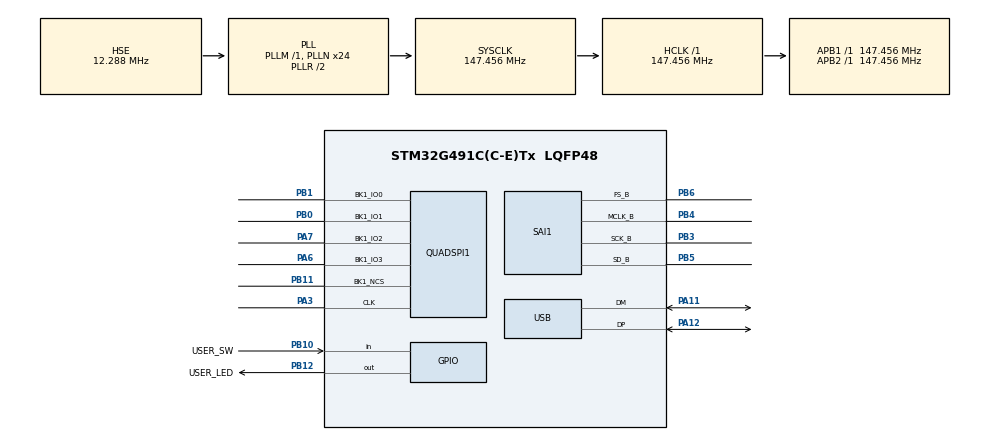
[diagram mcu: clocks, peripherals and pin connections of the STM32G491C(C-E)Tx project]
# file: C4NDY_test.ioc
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Dma.Request0=SAI1_B
Dma.SAI1_B.0.Direction=DMA_MEMORY_TO_PERIPH
Dma.SAI1_B.0.EventEnable=DISABLE
Dma.SAI1_B.0.Instance=DMA1_Channel1
Dma.SAI1_B.0.MemDataAlignment=DMA_MDATAALIGN_WORD
Dma.SAI1_B.0.MemInc=DMA_MINC_ENABLE
Dma.SAI1_B.0.Mode=DMA_NORMAL
Dma.SAI1_B.0.PeriphDataAlignment=DMA_PDATAALIGN_WORD
Dma.SAI1_B.0.PeriphInc=DMA_PINC_DISABLE
Dma.SAI1_B.0.Polarity=HAL_DMAMUX_REQ_GEN_RISING
Dma.SAI1_B.0.Priority=DMA_PRIORITY_LOW
Dma.SAI1_B.0.RequestNumber=1
Dma.SAI1_B.0.SignalID=NONE
Dma.SAI1_B.0.SyncEnable=DISABLE
Dma.SAI1_B.0.SyncPolarity=HAL_DMAMUX_SYNC_NO_EVENT
Dma.SAI1_B.0.SyncRequestNumber=1
Dma.SAI1_B.0.SyncSignalID=NONE
Mcu.Family=STM32G4
Mcu.Name=STM32G491C(C-E)Tx
Mcu.Package=LQFP48
NVIC.DMA1_Channel1_IRQn=true\:0\:0\:false\:false\:true\:false\:true\:true
NVIC.PriorityGroup=NVIC_PRIORITYGROUP_4
NVIC.SAI1_IRQn=true\:0\:0\:false\:false\:true\:true\:true\:true
NVIC.USB_LP_IRQn=true\:0\:0\:false\:false\:true\:false\:true\:true
PA11.Mode=Device
PA11.Signal=USB_DM
PA12.Mode=Device
PA12.Signal=USB_DP
PA13.Mode=Serial_Wire
PA13.Signal=SYS_JTMS-SWDIO
PA14.Mode=Serial_Wire
PA14.Signal=SYS_JTCK-SWCLK
PA3.GPIO_Speed=GPIO_SPEED_FREQ_VERY_HIGH
PA3.Mode=Single Bank 1
PA3.Signal=QUADSPI1_CLK
PA6.GPIO_Speed=GPIO_SPEED_FREQ_VERY_HIGH
PA6.Mode=Single Bank 1
PA6.Signal=QUADSPI1_BK1_IO3
PA7.GPIO_Speed=GPIO_SPEED_FREQ_VERY_HIGH
PA7.Mode=Single Bank 1
PA7.Signal=QUADSPI1_BK1_IO2
PB0.GPIO_Speed=GPIO_SPEED_FREQ_VERY_HIGH
PB0.Mode=Single Bank 1
PB0.Signal=QUADSPI1_BK1_IO1
PB1.GPIO_Speed=GPIO_SPEED_FREQ_VERY_HIGH
PB1.Mode=Single Bank 1
PB1.Signal=QUADSPI1_BK1_IO0
PB10.GPIO_Label=USER_SW
PB10.GPIO_PuPd=GPIO_PULLUP
PB10.Signal=GPIO_Input
PB11.GPIO_Speed=GPIO_SPEED_FREQ_VERY_HIGH
PB11.Mode=Single Bank 1
PB11.Signal=QUADSPI1_BK1_NCS
PB12.GPIO_Label=USER_LED
PB12.Signal=GPIO_Output
PB3.GPIO_Speed=GPIO_SPEED_FREQ_VERY_HIGH
PB3.Mode=SAI_B_MasterWithClock
PB3.Signal=SAI1_SCK_B
PB4.GPIO_Speed=GPIO_SPEED_FREQ_VERY_HIGH
PB4.Mode=SAI_B_MasterWithClock
PB4.Signal=SAI1_MCLK_B
PB5.GPIO_Speed=GPIO_SPEED_FREQ_VERY_HIGH
PB5.Mode=SAI_B_MasterWithClock
PB5.Signal=SAI1_SD_B
PB6.GPIO_FM6=__NULL
PB6.GPIO_Speed=GPIO_SPEED_FREQ_VERY_HIGH
PB6.Mode=SAI_B_MasterWithClock
PB6.Signal=SAI1_FS_B
PF0-OSC_IN.Mode=HSE-External-Clock-Source
PF0-OSC_IN.Signal=RCC_OSC_IN
ProjectManager.HeapSize=0x200
ProjectManager.StackSize=0x400
ProjectManager.TargetToolchain=STM32CubeIDE
QUADSPI1.ClockMode=QSPI_CLOCK_MODE_0
QUADSPI1.ClockPrescaler=1
QUADSPI1.FifoThreshold=4
QUADSPI1.FlashSize=10
QUADSPI1.SampleShifting=QSPI_SAMPLE_SHIFTING_NONE
RCC.ADC12Freq_Value=147456000
RCC.ADC345Freq_Value=147456000
RCC.AHBFreq_Value=147456000
RCC.APB1Freq_Value=147456000
RCC.APB1TimFreq_Value=147456000
RCC.APB2Freq_Value=147456000
RCC.APB2TimFreq_Value=147456000
RCC.CortexFreq_Value=147456000
RCC.EXTERNAL_CLOCK_VALUE=12288000
RCC.HCLKFreq_Value=147456000
RCC.HSE_VALUE=12288000
RCC.HSI48_VALUE=48000000
RCC.HSI_VALUE=16000000
RCC.LSE_VALUE=32768
RCC.PLLN=24
RCC.PLLQ=RCC_PLLQ_DIV6
RCC.PLLSourceVirtual=RCC_PLLSOURCE_HSE
RCC.PWR_Regulator_Voltage_Scale=PWR_REGULATOR_VOLTAGE_SCALE1_BOOST
RCC.SAI1CLockSelection=RCC_SAI1CLKSOURCE_PLL
RCC.SYSCLKFreq_VALUE=147456000
RCC.SYSCLKSource=RCC_SYSCLKSOURCE_PLLCLK
RCC.USBFreq_Value=48000000
RCC.VCOOutputFreq_Value=294912000
SAI1.ActiveFrameLength-SAI_B_MasterWithClock=16
SAI1.AudioFrequency-SAI_B_MasterWithClock=SAI_AUDIO_FREQUENCY_MCKDIV
SAI1.DataSize-SAI_B_MasterWithClock=SAI_DATASIZE_16
SAI1.FIFOThreshold-SAI_B_MasterWithClock=SAI_FIFOTHRESHOLD_HF
SAI1.FirstBitOffset-SAI_B_MasterWithClock=0
SAI1.FrameLength-SAI_B_MasterWithClock=32
SAI1.Instance-SAI_B_MasterWithClock=SAI$Index_Block_B
SAI1.MckOutput-SAI_B_MasterWithClock=SAI_MCK_OUTPUT_ENABLE
SAI1.MckOverSampling-SAI_B_MasterWithClock=SAI_MCK_OVERSAMPLING_DISABLE
SAI1.Mckdiv-SAI_B_MasterWithClock=4
SAI1.MonoStereoMode-SAI_B_MasterWithClock=SAI_STEREOMODE
SAI1.NoDivider-SAI_B_MasterWithClock=SAI_MASTERDIVIDER_ENABLE
SAI1.SlotActive-SAI_B_MasterWithClock=0x0000FFFF
SAI1.SlotNumber-SAI_B_MasterWithClock=2
SAI1.VirtualMode-SAI_B_MasterWithClock=VM_MASTER
SAI1.VirtualSlotActive-SAI_B_MasterWithClock=SAI_SLOTACTIVE_ALL
USB_DEVICE.CLASS_NAME_FS=AUDIO
USB_DEVICE.MANUFACTURER_STRING=Yamamoto Works Ltd.
USB_DEVICE.USBD_AUDIO_FREQ=48000
USB_DEVICE.USBD_MAX_NUM_CONFIGURATION=2
USB_DEVICE.USBD_MAX_NUM_INTERFACES=2
USB_DEVICE.VID=0x31BF
USB_DEVICE.VirtualMode=Audio
USB_DEVICE.VirtualModeFS=Audio_FS
VP_USB_DEVICE_VS_USB_DEVICE_AUDIO_FS.Mode=AUDIO_FS
board=custom

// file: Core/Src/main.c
/* USER CODE BEGIN Header */
/**
  ******************************************************************************
  * @file           : main.c
  * @brief          : Main program body
  ******************************************************************************
  * @attention
  *
  * Copyright (c) 2023 STMicroelectronics.
  * All rights reserved.
  *
  * This software is licensed under terms that can be found in the LICENSE file
  * in the root directory of this software component.
  * If no LICENSE file comes with this software, it is provided AS-IS.
  *
  ******************************************************************************
  */
/* USER CODE END Header */
#include "main.h"
#include "usb_device.h"

/* USER CODE BEGIN Includes */
#include "usbd_audio_if.h"
#include "SEGGER_RTT.h"
/* USER CODE END Includes */

/* USER CODE BEGIN PD */
#define READ_CMD 0x03
#define QIO_READ_CMD 0xEB
#define WRITE_CMD 0x02
#define QIO_WRITE_CMD 0x38
#define ENTER_QPI_CMD 0x35
#define EXIT_QPI_CMD 0xF5
#define RESET_ENABLE_CMD 0x66
#define RESET_CMD 0x99
#define SET_BURST_LEN_CMD 0xC0
#define READ_ID_CMD 0x9F
/* USER CODE END PD */

QSPI_HandleTypeDef hqspi1;

SAI_HandleTypeDef hsai_BlockB1;
DMA_HandleTypeDef hdma_sai1_b;

void SystemClock_Config(void);
static void MX_GPIO_Init(void);
static void MX_DMA_Init(void);
static void MX_SAI1_Init(void);
static void MX_QUADSPI1_Init(void);
/* USER CODE BEGIN PFP */
void RTT_Read(void);
/* USER CODE END PFP */

/* USER CODE BEGIN 0 */
int8_t SRAM_Write(uint32_t address, uint8_t *write_data, uint32_t write_length)
{
	QSPI_CommandTypeDef sCommand;
	HAL_StatusTypeDef res = 0;

	sCommand.InstructionMode   = QSPI_INSTRUCTION_1_LINE;
	sCommand.Instruction	   = WRITE_CMD;
	sCommand.AddressMode	   = QSPI_ADDRESS_1_LINE;
	sCommand.Address		   = address;
	sCommand.AddressSize	   = QSPI_ADDRESS_24_BITS;
	sCommand.AlternateByteMode = QSPI_ALTERNATE_BYTES_NONE;
	sCommand.DataMode		   = QSPI_DATA_1_LINE;
	sCommand.DummyCycles	   = 0;
	sCommand.DdrMode		   = QSPI_DDR_MODE_DISABLE;
	sCommand.DdrHoldHalfCycle  = QSPI_DDR_HHC_ANALOG_DELAY;
	sCommand.SIOOMode		   = QSPI_SIOO_INST_EVERY_CMD;
	sCommand.NbData			   = write_length;

	res += HAL_QSPI_Command(&hqspi1, &sCommand, 0xFFF);
	res += HAL_QSPI_Transmit(&hqspi1, write_data, 0xFFF);

	return res;
}

int8_t SRAM_Read(uint32_t address, uint8_t *read_data, uint32_t read_length)
{
	QSPI_CommandTypeDef sCommand;
	HAL_StatusTypeDef res = 0;

	sCommand.InstructionMode   = QSPI_INSTRUCTION_1_LINE;
	sCommand.Instruction	   = READ_CMD;
	sCommand.AddressMode	   = QSPI_ADDRESS_1_LINE;
	sCommand.Address		   = address;
	sCommand.AddressSize	   = QSPI_ADDRESS_24_BITS;
	sCommand.AlternateByteMode = QSPI_ALTERNATE_BYTES_NONE;
	sCommand.DataMode		   = QSPI_DATA_1_LINE;
	sCommand.DummyCycles	   = 0;
	sCommand.DdrMode		   = QSPI_DDR_MODE_DISABLE;
	sCommand.DdrHoldHalfCycle  = QSPI_DDR_HHC_ANALOG_DELAY;
	sCommand.SIOOMode		   = QSPI_SIOO_INST_EVERY_CMD;
	sCommand.NbData			   = read_length;

	res += HAL_QSPI_Command(&hqspi1, &sCommand, 0xFFF);
	res += HAL_QSPI_Receive(&hqspi1, read_data, 0xFFF);

	return res;
}

int8_t SRAM_QMode(void)
{

	QSPI_CommandTypeDef sCommand;
	HAL_StatusTypeDef res=0;

	sCommand.InstructionMode   = QSPI_INSTRUCTION_1_LINE;
	sCommand.Instruction	   = ENTER_QPI_CMD;
	sCommand.AddressMode	   = QSPI_ADDRESS_NONE;
	sCommand.Address		   = 0;
	sCommand.AddressSize	   = QSPI_ADDRESS_24_BITS;
	sCommand.AlternateByteMode = QSPI_ALTERNATE_BYTES_NONE;
	sCommand.DataMode		   = QSPI_DATA_NONE;
	sCommand.DummyCycles	   = 0;
	sCommand.DdrMode		   = QSPI_DDR_MODE_DISABLE;
	sCommand.DdrHoldHalfCycle  = QSPI_DDR_HHC_ANALOG_DELAY;
	sCommand.SIOOMode		   = QSPI_SIOO_INST_EVERY_CMD;
	sCommand.NbData			   = 0;

	res=HAL_QSPI_Command(&hqspi1, &sCommand, 0xFFF);

	return res;
}

int8_t SRAM_QWrite(uint32_t address, uint8_t *write_data, uint32_t write_length)
{
	QSPI_CommandTypeDef sCommand;
	HAL_StatusTypeDef res = 0;

	sCommand.InstructionMode   = QSPI_INSTRUCTION_4_LINES;
	sCommand.Instruction	   = QIO_WRITE_CMD;
	sCommand.AddressMode	   = QSPI_ADDRESS_4_LINES;
	sCommand.Address		   = address;
	sCommand.AddressSize	   = QSPI_ADDRESS_24_BITS;
	sCommand.AlternateByteMode = QSPI_ALTERNATE_BYTES_NONE;
	sCommand.DataMode		   = QSPI_DATA_4_LINES;
	sCommand.DummyCycles	   = 0;
	sCommand.DdrMode		   = QSPI_DDR_MODE_DISABLE;
	sCommand.DdrHoldHalfCycle  = QSPI_DDR_HHC_ANALOG_DELAY;
	sCommand.SIOOMode		   = QSPI_SIOO_INST_EVERY_CMD;
	sCommand.NbData			   = write_length;

	res += HAL_QSPI_Command(&hqspi1, &sCommand, 0xFFF);
	res += HAL_QSPI_Transmit(&hqspi1, write_data, 0xFFF);

	return res;
}

int8_t SRAM_QRead(uint32_t address, uint8_t *read_data, uint32_t read_length)
{
	QSPI_CommandTypeDef sCommand;
	HAL_StatusTypeDef res = 0;

	sCommand.InstructionMode   = QSPI_INSTRUCTION_4_LINES;
	sCommand.Instruction	   = QIO_READ_CMD;
	sCommand.AddressMode	   = QSPI_ADDRESS_4_LINES;
	sCommand.Address		   = address;
	sCommand.AddressSize	   = QSPI_ADDRESS_24_BITS;
	sCommand.AlternateByteMode = QSPI_ALTERNATE_BYTES_NONE;
	sCommand.DataMode		   = QSPI_DATA_4_LINES;
	sCommand.DummyCycles	   = 6;
	sCommand.DdrMode		   = QSPI_DDR_MODE_DISABLE;
	sCommand.DdrHoldHalfCycle  = QSPI_DDR_HHC_ANALOG_DELAY;
	sCommand.SIOOMode		   = QSPI_SIOO_INST_EVERY_CMD;
	sCommand.NbData			   = read_length;

	res += HAL_QSPI_Command(&hqspi1, &sCommand, 0xFFF);
	res += HAL_QSPI_Receive(&hqspi1, read_data, 0xFFF);

	return res;
}

int8_t SRAM_QReadID(uint8_t *read_data)
{
	QSPI_CommandTypeDef sCommand;
	HAL_StatusTypeDef res = 0;

	sCommand.InstructionMode   = QSPI_INSTRUCTION_4_LINES;
	sCommand.Instruction	   = READ_ID_CMD;
	sCommand.AddressMode	   = QSPI_ADDRESS_NONE;
	sCommand.AlternateByteMode = QSPI_ALTERNATE_BYTES_NONE;
	sCommand.DataMode		   = QSPI_DATA_4_LINES;
	sCommand.DummyCycles	   = 6;
	sCommand.DdrMode		   = QSPI_DDR_MODE_DISABLE;
	sCommand.DdrHoldHalfCycle  = QSPI_DDR_HHC_ANALOG_DELAY;
	sCommand.SIOOMode		   = QSPI_SIOO_INST_EVERY_CMD;
	sCommand.NbData			   = 8;

	res += HAL_QSPI_Command(&hqspi1, &sCommand, 0xFFF);
	res += HAL_QSPI_Receive(&hqspi1, read_data, 0xFFF);

	return res;
}

/* USER CODE END 0 */

int main(void)
{

  /* MCU Configuration--------------------------------------------------------*/

  /* Reset of all peripherals, Initializes the Flash interface and the Systick. */
  HAL_Init();

  /* Configure the system clock */
  SystemClock_Config();

  /* Initialize all configured peripherals */
  MX_GPIO_Init();
  MX_DMA_Init();
  MX_USB_Device_Init();
  MX_SAI1_Init();
  MX_QUADSPI1_Init();
  /* USER CODE BEGIN 2 */

  SEGGER_RTT_ConfigUpBuffer(0, NULL, NULL, 0, SEGGER_RTT_MODE_NO_BLOCK_SKIP);
  SEGGER_RTT_printf(0, "Hello RTT world.\n");

  int count = 0;

  uint8_t id[8] = {0x0};

  SRAM_QMode();
  SRAM_QReadID(id);

  for (uint32_t i = 0; i < 8; i++)
  {
	  SEGGER_RTT_printf(0, "%d: %02X\n", i, id[i]);
  }

  uint32_t len = 256;
  uint8_t wData[len];
  uint8_t rData[len];
  for (uint32_t i = 0; i < len; i++)
  {
	  wData[i] = i;
	  rData[i] = 0;
  }

  SRAM_QWrite(0x400, wData, len);
  SRAM_QRead(0x400, rData, len);

  for (uint32_t i = 0; i < len; i++)
  {
	  SEGGER_RTT_printf(0, "rData[%d] = %d(%02X)\n", i, rData[i],rData[i]);
	  HAL_Delay(5);
  }

  /* USER CODE END 2 */

  /* Infinite loop */
  while (1)
  {

    /* USER CODE BEGIN 3 */
	  //printf("fresh!\n");
	  //sprintf(buf, "hello %d\n", count++);
	  //CDC_Transmit_FS((uint8_t *)buf, strlen(buf));

	  HAL_GPIO_TogglePin(GPIOB, GPIO_PIN_12);
	  HAL_Delay(1000);

	  count = (count + 1) % 1024;
  }
  /* USER CODE END 3 */
}

void SystemClock_Config(void)
{
  RCC_OscInitTypeDef RCC_OscInitStruct = {0};
  RCC_ClkInitTypeDef RCC_ClkInitStruct = {0};

  /** Configure the main internal regulator output voltage
  */
  HAL_PWREx_ControlVoltageScaling(PWR_REGULATOR_VOLTAGE_SCALE1_BOOST);

  /** Initializes the RCC Oscillators according to the specified parameters
  * in the RCC_OscInitTypeDef structure.
  */
  RCC_OscInitStruct.OscillatorType = RCC_OSCILLATORTYPE_HSI48|RCC_OSCILLATORTYPE_HSE;
  RCC_OscInitStruct.HSEState = RCC_HSE_BYPASS;
  RCC_OscInitStruct.HSI48State = RCC_HSI48_ON;
  RCC_OscInitStruct.PLL.PLLState = RCC_PLL_ON;
  RCC_OscInitStruct.PLL.PLLSource = RCC_PLLSOURCE_HSE;
  RCC_OscInitStruct.PLL.PLLM = RCC_PLLM_DIV1;
  RCC_OscInitStruct.PLL.PLLN = 24;
  RCC_OscInitStruct.PLL.PLLP = RCC_PLLP_DIV2;
  RCC_OscInitStruct.PLL.PLLQ = RCC_PLLQ_DIV6;
  RCC_OscInitStruct.PLL.PLLR = RCC_PLLR_DIV2;
  if (HAL_RCC_OscConfig(&RCC_OscInitStruct) != HAL_OK)
  {
    Error_Handler();
  }

  /** Initializes the CPU, AHB and APB buses clocks
  */
  RCC_ClkInitStruct.ClockType = RCC_CLOCKTYPE_HCLK|RCC_CLOCKTYPE_SYSCLK
                              |RCC_CLOCKTYPE_PCLK1|RCC_CLOCKTYPE_PCLK2;
  RCC_ClkInitStruct.SYSCLKSource = RCC_SYSCLKSOURCE_PLLCLK;
  RCC_ClkInitStruct.AHBCLKDivider = RCC_SYSCLK_DIV1;
  RCC_ClkInitStruct.APB1CLKDivider = RCC_HCLK_DIV1;
  RCC_ClkInitStruct.APB2CLKDivider = RCC_HCLK_DIV1;

  if (HAL_RCC_ClockConfig(&RCC_ClkInitStruct, FLASH_LATENCY_4) != HAL_OK)
  {
    Error_Handler();
  }
}

static void MX_QUADSPI1_Init(void)
{

  /* QUADSPI1 parameter configuration*/
  hqspi1.Instance = QUADSPI;
  hqspi1.Init.ClockPrescaler = 1;
  hqspi1.Init.FifoThreshold = 4;
  hqspi1.Init.SampleShifting = QSPI_SAMPLE_SHIFTING_NONE;
  hqspi1.Init.FlashSize = 10;
  hqspi1.Init.ChipSelectHighTime = QSPI_CS_HIGH_TIME_1_CYCLE;
  hqspi1.Init.ClockMode = QSPI_CLOCK_MODE_0;
  hqspi1.Init.FlashID = QSPI_FLASH_ID_1;
  hqspi1.Init.DualFlash = QSPI_DUALFLASH_DISABLE;
  if (HAL_QSPI_Init(&hqspi1) != HAL_OK)
  {
    Error_Handler();
  }

}

static void MX_SAI1_Init(void)
{

  hsai_BlockB1.Instance = SAI1_Block_B;
  hsai_BlockB1.Init.Protocol = SAI_FREE_PROTOCOL;
  hsai_BlockB1.Init.AudioMode = SAI_MODEMASTER_TX;
  hsai_BlockB1.Init.DataSize = SAI_DATASIZE_16;
  hsai_BlockB1.Init.FirstBit = SAI_FIRSTBIT_MSB;
  hsai_BlockB1.Init.ClockStrobing = SAI_CLOCKSTROBING_FALLINGEDGE;
  hsai_BlockB1.Init.Synchro = SAI_ASYNCHRONOUS;
  hsai_BlockB1.Init.OutputDrive = SAI_OUTPUTDRIVE_DISABLE;
  hsai_BlockB1.Init.NoDivider = SAI_MASTERDIVIDER_ENABLE;
  hsai_BlockB1.Init.MckOverSampling = SAI_MCK_OVERSAMPLING_DISABLE;
  hsai_BlockB1.Init.FIFOThreshold = SAI_FIFOTHRESHOLD_HF;
  hsai_BlockB1.Init.AudioFrequency = SAI_AUDIO_FREQUENCY_MCKDIV;
  hsai_BlockB1.Init.MckOutput = SAI_MCK_OUTPUT_ENABLE;
  hsai_BlockB1.Init.Mckdiv = 4;
  hsai_BlockB1.Init.SynchroExt = SAI_SYNCEXT_DISABLE;
  hsai_BlockB1.Init.MonoStereoMode = SAI_STEREOMODE;
  hsai_BlockB1.Init.CompandingMode = SAI_NOCOMPANDING;
  hsai_BlockB1.Init.TriState = SAI_OUTPUT_NOTRELEASED;
  hsai_BlockB1.Init.PdmInit.Activation = DISABLE;
  hsai_BlockB1.Init.PdmInit.MicPairsNbr = 0;
  hsai_BlockB1.Init.PdmInit.ClockEnable = SAI_PDM_CLOCK1_ENABLE;
  hsai_BlockB1.FrameInit.FrameLength = 32;
  hsai_BlockB1.FrameInit.ActiveFrameLength = 16;
  hsai_BlockB1.FrameInit.FSDefinition = SAI_FS_STARTFRAME;
  hsai_BlockB1.FrameInit.FSPolarity = SAI_FS_ACTIVE_LOW;
  hsai_BlockB1.FrameInit.FSOffset = SAI_FS_FIRSTBIT;
  hsai_BlockB1.SlotInit.FirstBitOffset = 1;
  hsai_BlockB1.SlotInit.SlotSize = SAI_SLOTSIZE_DATASIZE;
  hsai_BlockB1.SlotInit.SlotNumber = 2;
  hsai_BlockB1.SlotInit.SlotActive = 0x0000FFFF;
  if (HAL_SAI_Init(&hsai_BlockB1) != HAL_OK)
  {
    Error_Handler();
  }

}

static void MX_DMA_Init(void)
{

  /* DMA controller clock enable */
  __HAL_RCC_DMAMUX1_CLK_ENABLE();
  __HAL_RCC_DMA1_CLK_ENABLE();

  /* DMA interrupt init */
  /* DMA1_Channel1_IRQn interrupt configuration */
  HAL_NVIC_SetPriority(DMA1_Channel1_IRQn, 0, 0);
  HAL_NVIC_EnableIRQ(DMA1_Channel1_IRQn);

}

static void MX_GPIO_Init(void)
{
  GPIO_InitTypeDef GPIO_InitStruct = {0};

  /* GPIO Ports Clock Enable */
  __HAL_RCC_GPIOF_CLK_ENABLE();
  __HAL_RCC_GPIOA_CLK_ENABLE();
  __HAL_RCC_GPIOB_CLK_ENABLE();

  /*Configure GPIO pin Output Level */
  HAL_GPIO_WritePin(USER_LED_GPIO_Port, USER_LED_Pin, GPIO_PIN_RESET);

  /*Configure GPIO pin : USER_SW_Pin */
  GPIO_InitStruct.Pin = USER_SW_Pin;
  GPIO_InitStruct.Mode = GPIO_MODE_INPUT;
  GPIO_InitStruct.Pull = GPIO_PULLUP;
  HAL_GPIO_Init(USER_SW_GPIO_Port, &GPIO_InitStruct);

  /*Configure GPIO pin : USER_LED_Pin */
  GPIO_InitStruct.Pin = USER_LED_Pin;
  GPIO_InitStruct.Mode = GPIO_MODE_OUTPUT_PP;
  GPIO_InitStruct.Pull = GPIO_NOPULL;
  GPIO_InitStruct.Speed = GPIO_SPEED_FREQ_LOW;
  HAL_GPIO_Init(USER_LED_GPIO_Port, &GPIO_InitStruct);

}

/* USER CODE BEGIN 4 */
void RTT_Read(void)
{
	char input;
	uint32_t size = SEGGER_RTT_Read(0, &input, 1u);

	if (size > 0)
	{
		SEGGER_RTT_printf(0, "%c", input);
	}
}
/* USER CODE END 4 */

void Error_Handler(void)
{
  __disable_irq();
  while (1)
  {
  }
}
